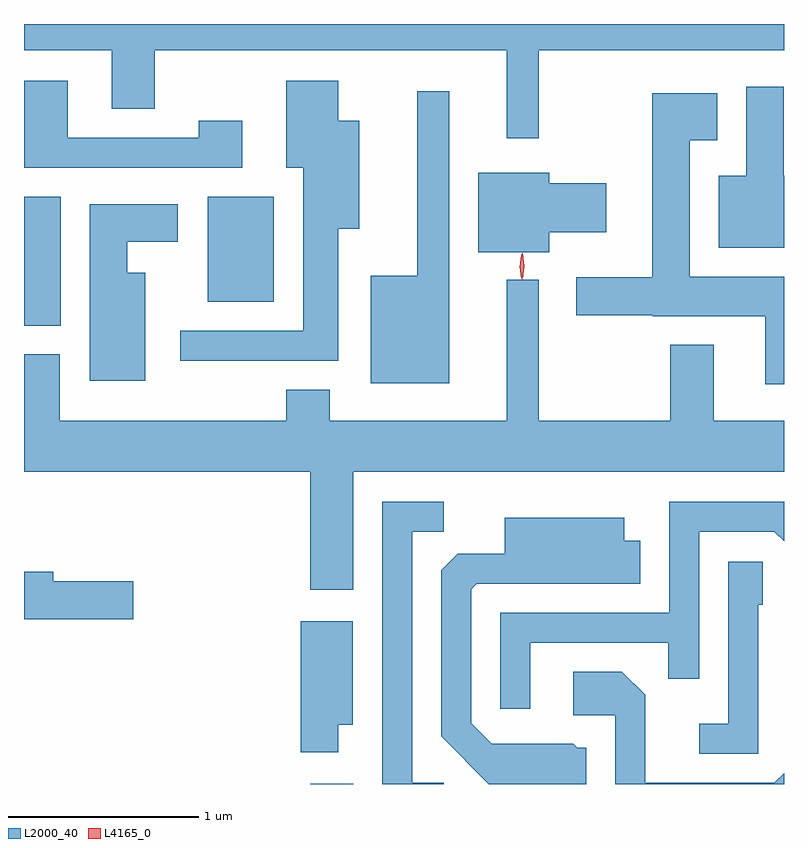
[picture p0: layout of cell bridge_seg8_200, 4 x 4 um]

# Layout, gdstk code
import gdstk
lib = gdstk.Library(unit=1e-6, precision=1e-09)
def R(c, l, rs):  # rectangles x0, y0, x1, y1
    for r in rs: c.add(gdstk.rectangle(r[:2], r[2:], *l))
def P(c, l, *ps):  # polygons
    for p in ps: c.add(gdstk.Polygon(p, *l))
L2000_40 = (2000, 40)
L4165_0 = (4165, 0)

bridge_seg8_200 = lib.new_cell('bridge_seg8_200')
R(bridge_seg8_200, L2000_40, [(1166.246,1903.593,1166.474,1903.594), (1164.74,1906.006,1164.934,1906.684), (1165.706,1906.131,1166.054,1906.684)])
P(bridge_seg8_200, L2000_40, [(1167.449,1907.456),(1168.74,1907.456),(1168.74,1907.593),(1164.74,1907.593),(1164.74,1907.456),(1165.201,1907.456),(1165.201,1907.146),(1165.429,1907.146),(1165.429,1907.456),(1167.281,1907.456),(1167.281,1906.993),(1167.449,1906.993)],
  [(1165.889,1907.084),(1165.661,1907.084),(1165.661,1906.994),(1164.969,1906.994),(1164.969,1907.294),(1164.741,1907.294),(1164.741,1906.836),(1165.889,1906.836)],
  [(1166.394,1906.516),(1166.504,1906.516),(1166.504,1907.084),(1166.394,1907.084),(1166.394,1907.294),(1166.121,1907.294),(1166.121,1906.836),(1166.211,1906.836),(1166.211,1905.979),(1165.563,1905.979),(1165.563,1905.821),(1166.394,1905.821)],
  [(1168.74,1906.794),(1168.739,1906.794),(1168.739,1907.264),(1168.541,1907.264),(1168.541,1906.794),(1168.396,1906.794),(1168.396,1906.416),(1168.74,1906.416)],
  [(1166.979,1907.238),(1166.811,1907.238),(1166.811,1906.269),(1166.566,1906.269),(1166.566,1905.701),(1166.979,1905.701)],
  [(1168.74,1906.264),(1168.244,1906.264),(1168.244,1906.981),(1168.389,1906.981),(1168.389,1907.229),(1168.046,1907.229),(1168.046,1906.259),(1167.646,1906.259),(1167.646,1906.061),(1168.05,1906.061),(1168.05,1906.056),(1168.641,1906.056),(1168.641,1905.696),(1168.74,1905.696)],
  [(1167.504,1906.496),(1167.804,1906.496),(1167.804,1906.754),(1167.504,1906.754),(1167.504,1906.809),(1167.131,1906.809),(1167.131,1906.391),(1167.504,1906.391)],
  [(1165.379,1906.284),(1165.284,1906.284),(1165.284,1906.446),(1165.549,1906.446),(1165.549,1906.644),(1165.086,1906.644),(1165.086,1905.716),(1165.379,1905.716)],
  [(1166.474,1905.236),(1168.74,1905.236),(1168.74,1905.504),(1168.369,1905.504),(1168.369,1905.904),(1168.141,1905.904),(1168.141,1905.504),(1167.449,1905.504),(1167.449,1906.248),(1167.281,1906.248),(1167.281,1905.504),(1166.349,1905.504),(1166.349,1905.669),(1166.121,1905.669),(1166.121,1905.504),(1164.929,1905.504),(1164.929,1905.854),(1164.74,1905.854),(1164.74,1905.236),(1166.246,1905.236),(1166.246,1904.616),(1166.474,1904.616)],
  [(1167.404,1904.336),(1168.131,1904.336),(1168.131,1904.148),(1168.294,1904.148),(1168.294,1904.921),(1168.689,1904.921),(1168.74,1904.87),(1168.74,1905.079),(1168.136,1905.079),(1168.136,1904.494),(1167.246,1904.494),(1167.246,1903.988),(1167.404,1903.988)],
  [(1166.948,1903.599),(1166.784,1903.599),(1166.784,1904.921),(1166.948,1904.921),(1166.948,1905.079),(1166.626,1905.079),(1166.626,1903.593),(1166.948,1903.593)],
  [(1167.699,1903.784),(1167.652,1903.784),(1167.632,1903.804),(1167.202,1903.804),(1167.094,1903.912),(1167.094,1904.619),(1167.122,1904.646),(1167.984,1904.646),(1167.984,1904.874),(1167.899,1904.874),(1167.899,1904.994),(1167.271,1904.994),(1167.271,1904.804),(1167.022,1904.804),(1166.936,1904.719),(1166.936,1903.844),(1167.187,1903.593),(1167.699,1903.593)],
  [(1168.604,1904.536),(1168.629,1904.536),(1168.629,1904.764),(1168.446,1904.764),(1168.446,1903.909),(1168.293,1903.909),(1168.293,1903.751),(1168.604,1903.751)],
  [(1165.314,1904.659),(1164.894,1904.659),(1164.894,1904.709),(1164.74,1904.709),(1164.74,1904.461),(1165.314,1904.461)],
  [(1166.394,1903.906),(1166.469,1903.906),(1166.469,1904.449),(1166.196,1904.449),(1166.196,1903.761),(1166.394,1903.761)],
  [(1168.74,1903.65),(1168.689,1903.599),(1168.009,1903.599),(1168.009,1904.062),(1167.887,1904.184),(1167.631,1904.184),(1167.631,1903.956),(1167.851,1903.956),(1167.851,1903.593),(1168.74,1903.593)])
P(bridge_seg8_200, L4165_0, [(1167.364,1906.25),(1167.354,1906.318),(1167.363,1906.386),(1167.364,1906.386),(1167.364,1906.386),(1167.374,1906.318),(1167.366,1906.25),(1167.365,1906.25)],
  [(1167.358,1906.252),(1167.358,1906.253),(1167.348,1906.316),(1167.358,1906.379),(1167.358,1906.38),(1167.359,1906.379),(1167.368,1906.316),(1167.359,1906.253)])

lib.write_gds('bridge_seg8_200.gds')
